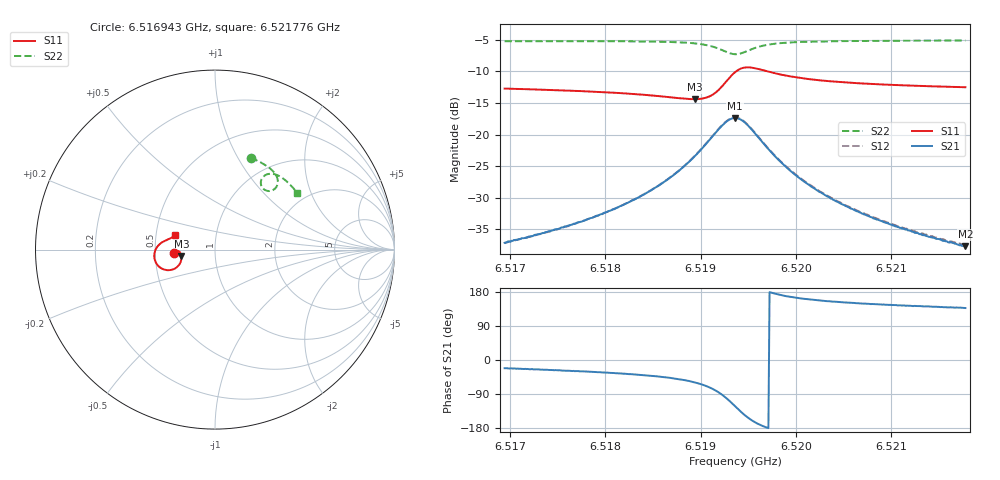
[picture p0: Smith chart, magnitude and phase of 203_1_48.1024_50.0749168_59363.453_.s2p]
#  HZ  S  RI  R  50.00
! Rohde & Schwarz Vector Network Analyzer
! Rohde-Schwarz,ZNB20-2Port,1311601062101988,3.16
! Created: UTC 12/23/2023, 3:54:59 AM
! freq[Hz]  re:S11  im:S11  re:S21  im:S21  re:S12  im:S12  re:S22  im:S22
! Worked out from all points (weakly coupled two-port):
!   401 points, 6.516943 GHz to 6.521776 GHz, reference 50 ohm
!   highest |S21| = -17.36 dB at 6.519359 GHz (marker M1); lowest = -37.7 dB at 6.521776 GHz (marker M2)
!   lowest |S11| = -14.4 dB at 6.518936 GHz (marker M3), VSWR 1.47, Z = 34.1 - j2.47 ohm
!   |S11| at or under -10 dB: start of sweep to 6.51937 GHz; 6.519703 GHz to end of sweep
!   |S22| runs from -7.3 to -5.1 dB; largest |S21 - S12| = 0.0043
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6.5169425e9  -0.2308 -0.018  0.0129 -0.00514  0.013 -0.00464  0.1991 0.5106
6.5174138e9  -0.2256 -0.0111  0.0154 -0.00761  0.0156 -0.00702  0.2339 0.4962
6.5177522e9  -0.2207 -0.00727  0.0178 -0.0102  0.0182 -0.00971  0.259 0.4837
6.5182114e9  -0.2117 -0.00497  0.0228 -0.0168  0.0235 -0.0161  0.2934 0.4622
6.5185618e9  -0.2013 -0.00913  0.0286 -0.0274  0.0296 -0.0265  0.3206 0.4397
6.5187552e9  -0.1941 -0.0176  0.0326 -0.0388  0.034 -0.0378  0.3355 0.4217
6.5189364e9  -0.1876 -0.0349  0.0348 -0.0578  0.0366 -0.057  0.3472 0.3973
6.5190452e9  -0.1874 -0.0539  0.0316 -0.0763  0.0342 -0.0759  0.3501 0.3763
6.5191298e9  -0.1939 -0.0752  0.0222 -0.0955  0.0252 -0.0956  0.3456 0.3562
6.5192627e9  -0.2359 -0.1108  -0.0206 -0.1238  -0.0169 -0.1254  0.3134 0.3277
6.519311e9  -0.2633 -0.1147  -0.0457 -0.1245  -0.0424 -0.1268  0.2939 0.3268
6.5193594e9  -0.2927 -0.1075  -0.0714 -0.1153  -0.0685 -0.118  0.2745 0.3345
6.5194198e9  -0.3222 -0.0835  -0.0951 -0.091  -0.093 -0.0945  0.2585 0.3549
6.5194802e9  -0.3365 -0.052  -0.1042 -0.0622  -0.1032 -0.0657  0.2555 0.3786
6.5195769e9  -0.3341 -0.00874  -0.0976 -0.0254  -0.0976 -0.0285  0.2696 0.4065
6.5196856e9  -0.3182 0.0204  -0.0805 -0.00326  -0.0811 -0.00571  0.2923 0.42
6.5199031e9  -0.289 0.0443  -0.0536 0.0111  -0.0545 0.00976  0.3294 0.4208
6.520169e9  -0.2677 0.0544  -0.0359 0.0137  -0.0367 0.0129  0.36 0.4086
6.5205194e9  -0.2516 0.0613  -0.0239 0.0129  -0.0246 0.0124  0.3887 0.3891
6.5209786e9  -0.2388 0.0679  -0.0162 0.0111  -0.0167 0.0109  0.4185 0.362
6.521317e9  -0.2317 0.0727  -0.0127 0.00998  -0.0133 0.00978  0.4371 0.3414
6.5217762e9  -0.2236 0.0789  -0.0096 0.00891  -0.0101 0.00882  0.4596 0.3131
